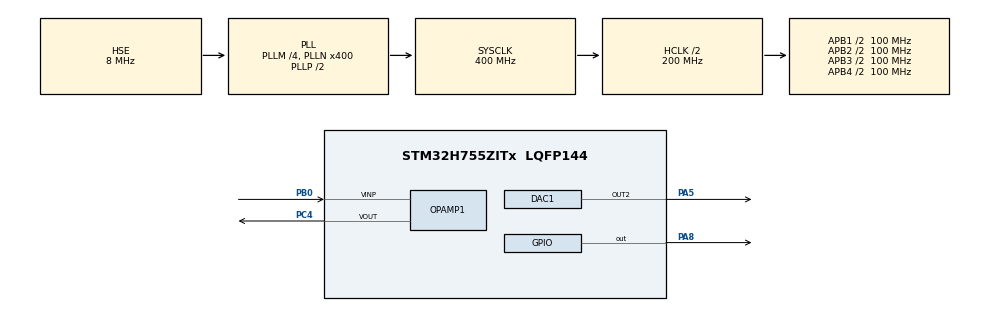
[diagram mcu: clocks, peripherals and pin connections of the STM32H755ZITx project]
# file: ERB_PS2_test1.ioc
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ADC2.Channel-16\#ChannelRegularConversion=ADC_CHANNEL_4
ADC2.ConversionDataManagement=ADC_CONVERSIONDATA_DR
ADC2.ExternalTrigConv=ADC_EXTERNALTRIG_T8_TRGO
ADC2.NbrOfConversionFlag=1
ADC2.OffsetNumber-16\#ChannelRegularConversion=ADC_OFFSET_NONE
ADC2.OffsetSignedSaturation-16\#ChannelRegularConversion=DISABLE
ADC2.Rank-16\#ChannelRegularConversion=1
ADC2.Resolution=ADC_RESOLUTION_12B
ADC2.SamplingTime-16\#ChannelRegularConversion=ADC_SAMPLETIME_32CYCLES_5
CORTEX_M7.CPU_DCache=Enabled
CORTEX_M7.CPU_ICache=Enabled
CORTEX_M7.default_mode_Activation=1
CortexM4.IPs=FATFS_M4\:I,FREERTOS_M4\:I,IWDG2\:I,RCC,WWDG2\:I,DMA,BDMA,MDMA,NVIC2\:I,USART3,DEBUG,PDM2PCM_M4\:I,PWR,RESMGR_UTILITY,SYS_M4\:I,USB_DEVICE_M4\:I,USB_HOST_M4\:I,CORTEX_M4\:I,GPIO,OPENAMP_M4\:I,VREFBUF
CortexM7.IPs=FATFS_M7\:I,FREERTOS_M7\:I,IWDG1\:I,RCC\:I,WWDG1\:I,DMA\:I,BDMA\:I,MDMA\:I,NVIC1\:I,USART3\:I,USB_OTG_FS\:I,SYS\:I,CORTEX_M7\:I,DEBUG\:I,PDM2PCM_M7\:I,PWR\:I,RESMGR_UTILITY\:I,USB_DEVICE_M7\:I,USB_HOST_M7\:I,GPIO\:I,OPENAMP_M7\:I,VREFBUF\:I,DAC1\:I,TIM5\:I,TIM8\:I,OPAMP2\:I,ADC2\:I,OPAMP1\:I
DAC1.DAC_Channel-DAC_OUT2=DAC_CHANNEL_2
DAC1.DAC_Trigger-DAC_OUT2=DAC_TRIGGER_NONE
Dma.DAC1_CH2.0.Direction=DMA_MEMORY_TO_PERIPH
Dma.DAC1_CH2.0.EventEnable=DISABLE
Dma.DAC1_CH2.0.FIFOMode=DMA_FIFOMODE_DISABLE
Dma.DAC1_CH2.0.Instance=DMA1_Stream1
Dma.DAC1_CH2.0.MemDataAlignment=DMA_MDATAALIGN_HALFWORD
Dma.DAC1_CH2.0.MemInc=DMA_MINC_ENABLE
Dma.DAC1_CH2.0.Mode=DMA_NORMAL
Dma.DAC1_CH2.0.PeriphDataAlignment=DMA_PDATAALIGN_HALFWORD
Dma.DAC1_CH2.0.PeriphInc=DMA_PINC_DISABLE
Dma.DAC1_CH2.0.Polarity=HAL_DMAMUX_REQ_GEN_RISING
Dma.DAC1_CH2.0.Priority=DMA_PRIORITY_VERY_HIGH
Dma.DAC1_CH2.0.RequestNumber=1
Dma.DAC1_CH2.0.SignalID=NONE
Dma.DAC1_CH2.0.SyncEnable=DISABLE
Dma.DAC1_CH2.0.SyncPolarity=HAL_DMAMUX_SYNC_NO_EVENT
Dma.DAC1_CH2.0.SyncRequestNumber=1
Dma.DAC1_CH2.0.SyncSignalID=NONE
Dma.Request0=DAC1_CH2
Mcu.Family=STM32H7
Mcu.Name=STM32H755ZITx
Mcu.Package=LQFP144
NVIC1.ADC_IRQn=true\:0\:0\:false\:false\:true\:true\:true\:true
NVIC1.DMA1_Stream1_IRQn=true\:0\:0\:false\:false\:true\:false\:true\:true
NVIC1.PriorityGroup=NVIC_PRIORITYGROUP_4
NVIC2.PriorityGroup=NVIC_PRIORITYGROUP_4
PA5.PinAttribute=CortexM7
PA5.Signal=COMP_DAC12_group
PA8.PinAttribute=Free
PA8.Signal=GPIO_Output
PB0.Mode=Follower
PB0.PinAttribute=CortexM7
PB0.Signal=OPAMP1_VINP
PC4.Mode=Follower
PC4.PinAttribute=CortexM7
PC4.Signal=OPAMP1_VOUT
PH0-OSC_IN\ (PH0).Mode=HSE-External-Oscillator
PH0-OSC_IN\ (PH0).PinAttribute=CortexM7
PH0-OSC_IN\ (PH0).Signal=RCC_OSC_IN
PH1-OSC_OUT\ (PH1).Mode=HSE-External-Oscillator
PH1-OSC_OUT\ (PH1).PinAttribute=CortexM7
PH1-OSC_OUT\ (PH1).Signal=RCC_OSC_OUT
ProjectManager.HeapSize=M4-0x200,M7-0x200
ProjectManager.StackSize=M4-0x400,M7-0x400
ProjectManager.TargetToolchain=STM32CubeIDE
RCC.ADCFreq_Value=160000000
RCC.APB1Freq_Value=100000000
RCC.APB2Freq_Value=100000000
RCC.APB3Freq_Value=100000000
RCC.APB4Freq_Value=100000000
RCC.CortexFreq_Value=400000000
RCC.D1PPRE=RCC_APB3_DIV2
RCC.D2PPRE1=RCC_APB1_DIV2
RCC.D2PPRE2=RCC_APB2_DIV2
RCC.D3PPRE=RCC_APB4_DIV2
RCC.DIVM1=4
RCC.DIVM2=4
RCC.DIVN1=400
RCC.DIVN2=80
RCC.DIVP2=1
RCC.DIVQ1=5
RCC.HCLKFreq_Value=200000000
RCC.HPRE=RCC_HCLK_DIV2
RCC.HSE_VALUE=8000000
RCC.PLL2FRACN=0
RCC.PLL3FRACN=0
RCC.PLLFRACN=0
RCC.PLLSourceVirtual=RCC_PLLSOURCE_HSE
RCC.PWR_Regulator_Voltage_Scale=PWR_REGULATOR_VOLTAGE_SCALE1
RCC.ProductRev=revY
RCC.SYSCLKFreq_VALUE=400000000
RCC.SYSCLKSource=RCC_SYSCLKSOURCE_PLLCLK
RCC.SupplySource=PWR_DIRECT_SMPS_SUPPLY
RCC.USBFreq_Value=160000000
SH.COMP_DAC12_group.0=DAC1_OUT2,DAC_OUT2
TIM5.AutoReloadPreload=TIM_AUTORELOAD_PRELOAD_DISABLE
TIM5.Period=3333
TIM5.TIM_MasterOutputTrigger=TIM_TRGO_UPDATE
TIM8.AutoReloadPreload=TIM_AUTORELOAD_PRELOAD_ENABLE
TIM8.Period=2083
TIM8.Prescaler=0
TIM8.TIM_MasterOutputTrigger=TIM_TRGO_UPDATE
VP_ADC2_OPAMP1_OUT.Mode=IN4-OPAMP1-Single-Ended
VP_SYS_M4_VS_Systick.Mode=SysTick
VP_TIM5_VS_ClockSourceINT.Mode=Internal
VP_TIM8_VS_ClockSourceINT.Mode=Internal
board=NUCLEO-H755ZI-Q

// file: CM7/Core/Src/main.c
/* USER CODE BEGIN Header */
/**
  ******************************************************************************
  * @file           : main.c
  * @brief          : Main program body
  ******************************************************************************
  * @attention
  *
  * Copyright (c) 2023 STMicroelectronics.
  * All rights reserved.
  *
  * This software is licensed under terms that can be found in the LICENSE file
  * in the root directory of this software component.
  * If no LICENSE file comes with this software, it is provided AS-IS.
  *
  ******************************************************************************
  This Code conatains the following effect: Polyphonic octave +1 and -1
  Filters that are used:
  -SubbandFilter: input is filtered into 43 subbands for analysis
  -RemoveDCfilter: Removes dc from 20Hz (highpass filter)
  -SuboctaveFIlter: Helps clear out upper harmonics from suboctave generation
  TODO LIST:
  TODO: Implement SubbandFilter Calculation    DONE!
  TODO: Imlement Subbandfilter Coefficient
  TODO: Set clock speed to 48khz
  TODO: Implement suboctave generation
  TODO: Implement Suboctave filtering
  TODO: Implement suboctave filter coefficient

  */
/* USER CODE END Header */
#include "main.h"

/* USER CODE BEGIN Includes */
#include "arm_math.h"
/* USER CODE END Includes */

/* USER CODE BEGIN PD */

#ifndef HSEM_ID_0
#define HSEM_ID_0 (0U) /* HW semaphore 0*/
#endif
/* USER CODE END PD */

ADC_HandleTypeDef hadc2;

DAC_HandleTypeDef hdac1;
DMA_HandleTypeDef hdma_dac1_ch2;

OPAMP_HandleTypeDef hopamp1;

TIM_HandleTypeDef htim5;
TIM_HandleTypeDef htim8;

void SystemClock_Config(void);
static void MPU_Config(void);
static void MX_GPIO_Init(void);
static void MX_DMA_Init(void);
static void MX_DAC1_Init(void);
static void MX_TIM5_Init(void);
static void MX_TIM8_Init(void);
static void MX_ADC2_Init(void);
static void MX_OPAMP1_Init(void);

/* USER CODE BEGIN 0 */
volatile uint8_t ADC_buffer_is_full=0;
volatile uint8_t ADC_buffer_is_half_full=0;
volatile uint8_t DAC_buffer_is_full=0;
volatile uint8_t DAC_buffer_is_half_full=0;
void HAL_ADC_ConvHalfCpltCallback(ADC_HandleTypeDef* hadc) {
	ADC_buffer_is_full=1;

}

void HAL_DACEx_ConvCpltCallbackCh2(DAC_HandleTypeDef *hdac){
	DAC_buffer_is_full=1;
}

void HAL_DACEx_ConvHalfCpltCallbackCh2(DAC_HandleTypeDef *hdac){
	DAC_buffer_is_half_full=1;
}
// DESIGN FILTERS
# define numberofsubbands 43
// SUBBAND FILTER VECTORS
volatile float32_t subbandfilter_input[numberofsubbands];
volatile float32_t subbandfilter_output[numberofsubbands];

// saved states
volatile float32_t subbandfilter_dn[numberofsubbands];
volatile float32_t subbandfilter_dn1[numberofsubbands];
volatile float32_t subbandfilter_dn2[numberofsubbands];

// filter coefficients fs=48000khz
float32_t subbandfilter_a1[numberofsubbands]={
  -1.99945743773269,-1.99935942906841,-1.99924062977670,-1.99909708277235,-1.99892410985062,-1.99871618287911,-1.99846677223317,-1.99816816848975,-1.99781127270592,-1.99738534980214,-1.99687773863020,-1.99627351120883,-1.99555507233332,-1.99470168928216,-1.99368893962368,-1.99248806313769,-1.99106520157565,-1.98938050735340,-1.98738709926732,-1.98502983991592,-1.98224390566903,-1.97895311574385,-1.97506798222950,-1.97048343779300,-1.96507619239353,-1.95870166479969,-1.95119042932896,-1.94234411345253,-1.93193067840176,-1.91967901366415,-1.90527277869813,-1.88834343336828,-1.86846241538006,-1.84513245237305,-1.81777804381746,-1.78573522094381,-1.74824080170997,-1.70442151569457,-1.65328359840612,-1.59370376851867,-1.52442293367053,-1.44404455593239,-1.35104038852965
};
float32_t subbandfilter_a2[numberofsubbands]={
  0.999623840823723,0.999592083812410,0.999557647639999,0.999520306796363,0.999479816929101,0.999435913307174,0.999388309169729,0.999336693954506,0.999280731400842,0.999220057523294,0.999154278453365,0.999082968148916,0.999005665973701,0.998921874153418,0.998831055119909,0.998732628762124,0.998625969611674,0.998510404002805,0.998385207262283,0.998249601004902,0.998102750636437,0.997943763199395,0.997771685739803,0.997585504428058,0.997384144736516,0.997166473064829,0.996931300315725,0.996677388064530,0.996403458142182,0.996108206671829,0.995790323872893,0.995448521284569,0.995081568475183,0.994688341807231,0.994267888432584,0.993819509407934,0.993342866651437,0.992838119401008,0.992306096857390,0.991748514743871,0.991168244482538,0.990569644389679,0.989958962429589
};

float32_t subbandfilter_b0[numberofsubbands]={
  0.000188079588138645,0.000203958093794915,0.000221176180000397,0.000239846601818621,0.000260091535449550,0.000282043346413158,0.000305845415135634,0.000331653022746955,0.000359634299578796,0.000389971238353096,0.000422860773317513,0.000458515925542157,0.000497167013149809,0.000539062923291039,0.000584472440045357,0.000633685618937812,0.000687015194163202,0.000744797998597725,0.000807396368858447,0.000875199497549016,0.000948624681781347,0.00102811840030234,0.00111415713009846,0.00120724778597086,0.00130792763174217,0.00141676346758574,0.00153434984213762,0.00166130596773492,0.00179827092890887,0.00194589666408543,0.00210483806355368,0.00227573935771526,0.00245921576240832,0.00265582909638453,0.00286605578370814,0.00309024529603291,0.00332856667428175,0.00358094029949610,0.00384695157130517,0.00412574262806443,0.00441587775873096,0.00471517780516052,0.00502051878520553};
float32_t subbandfilter_b1[numberofsubbands]={0.0};
float32_t subbandfilter_b2[numberofsubbands]={
  -0.000188079588138645,-0.000203958093794915,-0.000221176180000397,-0.000239846601818621,-0.000260091535449550,-0.000282043346413158,-0.000305845415135634,-0.000331653022746955,-0.000359634299578796,-0.000389971238353096,-0.000422860773317513,-0.000458515925542157,-0.000497167013149809,-0.000539062923291039,-0.000584472440045357,-0.000633685618937812,-0.000687015194163202,-0.000744797998597725,-0.000807396368858447,-0.000875199497549016,-0.000948624681781347,-0.00102811840030234,-0.00111415713009846,-0.00120724778597086,-0.00130792763174217,-0.00141676346758574,-0.00153434984213762,-0.00166130596773492,-0.00179827092890887,-0.00194589666408543,-0.00210483806355368,-0.00227573935771526,-0.00245921576240832,-0.00265582909638453,-0.00286605578370814,-0.00309024529603291,-0.00332856667428175,-0.00358094029949610,-0.00384695157130517,-0.00412574262806443,-0.00441587775873096,-0.00471517780516052,-0.00502051878520553
};

volatile float32_t subbandfilter_A1[numberofsubbands];
volatile float32_t subbandfilter_A2[numberofsubbands];

volatile float32_t subbandfilter_B0[numberofsubbands];
volatile float32_t subbandfilter_B1[numberofsubbands];
volatile float32_t subbandfilter_B2[numberofsubbands];

// SUBBAND FILTER FUNCTION - DIRECT FORM 2 - normalfunction exectime: ~6us
void subbandfilter_calculation(uint32_t input){
  float32_t input_f32=(float32_t)input-2048;
  // set d[n], d[n-1], d[n-2]
  for(int i=0;i<numberofsubbands;i++){
			  subbandfilter_input[i]=input_f32;
			  subbandfilter_dn2[i]=subbandfilter_dn1[i];
			  subbandfilter_dn1[i]=subbandfilter_dn[i];
  }
  // A1
  arm_mult_f32(subbandfilter_a1, subbandfilter_dn1, subbandfilter_A1, numberofsubbands);
  // A2
  arm_mult_f32(subbandfilter_a2, subbandfilter_dn2, subbandfilter_A2, numberofsubbands);

  // A1+A2
  arm_add_f32(subbandfilter_A1, subbandfilter_A2, subbandfilter_dn, numberofsubbands);

  // d[n]=A0-A1-A2
  arm_sub_f32(subbandfilter_input,subbandfilter_dn, subbandfilter_dn, numberofsubbands);

  // y_n=b0*d[n]+b1*d[n-1]+b2*d[n-2]

  // B1
  arm_mult_f32(subbandfilter_b1, subbandfilter_dn1, subbandfilter_B1, numberofsubbands);
  // B2
  arm_mult_f32(subbandfilter_b2, subbandfilter_dn2, subbandfilter_B2, numberofsubbands);
  // B1+B2
  arm_add_f32(subbandfilter_B1, subbandfilter_B2, subbandfilter_output, numberofsubbands);

  // B0
  arm_mult_f32(subbandfilter_b0, subbandfilter_dn, subbandfilter_B0, numberofsubbands);

  // y=B0+B1+B2
  arm_add_f32(subbandfilter_output, subbandfilter_B0, subbandfilter_output, numberofsubbands);
}
// SUBBAND FILTER FUNCTION - DIRECT FORM 2 - macrofunction exectime: ~5us
//#define SUBBANDFILTER_CALCULATION(input_16t) do { \
//  float32_t input_f32 = (float32_t)input_16t; \
//  for (int i = 0; i < numberofsubbands; i++) { \
//    subbandfilter_input[i] = input_f32; \
//    subbandfilter_dn2[i] = subbandfilter_dn1[i]; \
//    subbandfilter_dn1[i] = subbandfilter_dn[i]; \
//  } \
//  arm_mult_f32(subbandfilter_a1, subbandfilter_dn1, subbandfilter_A1, numberofsubbands); \
//  arm_mult_f32(subbandfilter_a2, subbandfilter_dn2, subbandfilter_A2, numberofsubbands); \
//  arm_add_f32(subbandfilter_A1, subbandfilter_A2, subbandfilter_dn, numberofsubbands); \
//  arm_add_f32(subbandfilter_dn, subbandfilter_input, subbandfilter_dn, numberofsubbands); \
//  arm_mult_f32(subbandfilter_b1, subbandfilter_dn1, subbandfilter_B1, numberofsubbands); \
//  arm_mult_f32(subbandfilter_b2, subbandfilter_dn2, subbandfilter_B2, numberofsubbands); \
//  arm_add_f32(subbandfilter_B1, subbandfilter_B2, subbandfilter_output, numberofsubbands); \
//  arm_mult_f32(subbandfilter_b0, subbandfilter_dn, subbandfilter_B0, numberofsubbands); \
//  arm_add_f32(subbandfilter_output, subbandfilter_B0, subbandfilter_output, numberofsubbands); \
//} while (0)

// usefull filters
volatile float32_t subband_ones[numberofsubbands]={1.0,1.0,1.0,1.0,1.0,1.0,1.0,1.0,1.0,1.0,1.0,1.0,1.0,1.0,1.0,1.0,1.0,1.0,1.0,1.0,1.0,1.0,1.0,1.0,1.0,1.0,1.0,1.0,1.0,1.0,1.0,1.0,1.0,1.0,1.0,1.0,1.0,1.0,1.0,1.0,1.0,1.0,1.0};
volatile float32_t subband_absolute_value[numberofsubbands];
volatile float32_t octave1_up=0.0;
volatile float32_t octave1_up_filtered=0.0;
// octave Filter
arm_biquad_cascade_df2T_instance_f32 highpass_iir_50hz;
volatile float32_t highpass_coeff[5]={0.99538200, -1.99076399, 0.99538200, 1.99074267, -0.99078531};
volatile float32_t highpass_state[10];

void octave1up(){
	// get absolute values of subbands
	arm_abs_f32(subbandfilter_output, subband_absolute_value, numberofsubbands);

	// add the octave subbands together
	arm_dot_prod_f32(subband_absolute_value, subband_ones, numberofsubbands, &octave1_up);

	// filter the DC component out
	arm_biquad_cascade_df2T_f32(&highpass_iir_50hz, &octave1_up, &octave1_up_filtered, 1);
}

volatile uint16_t state=0;
void HAL_ADC_ConvCpltCallback(ADC_HandleTypeDef* hadc)
{
	// Megjegyzés: valószínlőűleg a peripheral clockot kell nézni időzítéskor. APBclock 75Mhz volt ezért 75Mhz/48khz=1300 ennyi kell timer8 nak
    // Read & Update The ADC Result
	uint32_t value_from_ADC = HAL_ADC_GetValue(&hadc2);

	//value_from_ADC=value_from_ADC-2048;
	//SUBBANDFILTER_CALCULATION(value_from_ADC);

	subbandfilter_calculation(value_from_ADC);
	octave1up();

	// input+octave1up
	//DAC1->DHR12R2 = (uint16_t)octave1_up_filtered+value_from_ADC+2048;
	// octave1up
	uint32_t output_test_ac=(uint32_t)octave1_up_filtered*1;
//	DAC1->DHR12R2 = output_test_ac+2048;//+value_from_ADC-2048;

	DAC1->DHR12R2 = (uint32_t)output_test_ac+2048;
}

/* USER CODE END 0 */

int main(void)
{
/* USER CODE BEGIN Boot_Mode_Sequence_0 */
  int32_t timeout;
/* USER CODE END Boot_Mode_Sequence_0 */

  /* MPU Configuration--------------------------------------------------------*/
  MPU_Config();

  /* Enable I-Cache---------------------------------------------------------*/
  SCB_EnableICache();

  /* Enable D-Cache---------------------------------------------------------*/
  SCB_EnableDCache();

/* USER CODE BEGIN Boot_Mode_Sequence_1 */
  /* Wait until CPU2 boots and enters in stop mode or timeout*/
  timeout = 0xFFFF;
  while((__HAL_RCC_GET_FLAG(RCC_FLAG_D2CKRDY) != RESET) && (timeout-- > 0));
  if ( timeout < 0 )
  {
  Error_Handler();
  }
/* USER CODE END Boot_Mode_Sequence_1 */
  /* MCU Configuration--------------------------------------------------------*/

  /* Reset of all peripherals, Initializes the Flash interface and the Systick. */
  HAL_Init();

  /* Configure the system clock */
  SystemClock_Config();
/* USER CODE BEGIN Boot_Mode_Sequence_2 */
/* When system initialization is finished, Cortex-M7 will release Cortex-M4 by means of
HSEM notification */
/*HW semaphore Clock enable*/
__HAL_RCC_HSEM_CLK_ENABLE();
/*Take HSEM */
HAL_HSEM_FastTake(HSEM_ID_0);
/*Release HSEM in order to notify the CPU2(CM4)*/
HAL_HSEM_Release(HSEM_ID_0,0);
/* wait until CPU2 wakes up from stop mode */
timeout = 0xFFFF;
while((__HAL_RCC_GET_FLAG(RCC_FLAG_D2CKRDY) == RESET) && (timeout-- > 0));
if ( timeout < 0 )
{
Error_Handler();
}
/* USER CODE END Boot_Mode_Sequence_2 */

  /* Initialize all configured peripherals */
  MX_GPIO_Init();
  MX_DMA_Init();
  MX_DAC1_Init();
  MX_TIM5_Init();
  MX_TIM8_Init();
  MX_ADC2_Init();
  MX_OPAMP1_Init();
  /* USER CODE BEGIN 2 */
  uint16_t input_ADC;
  uint16_t output_DAC;
  // start DMA for ADC and DAC
	//HAL_ADC_Start_DMA(&hadc2, (uint32_t*)input_ADC, 1);
	//HAL_DAC_Start_DMA(&hdac1, DAC_CHANNEL_2, (uint32_t*)output_DAC, 1, DAC_ALIGN_12B_R);

	HAL_OPAMP_Start(&hopamp1);
	// start Timers for ADC and DAC
	HAL_TIM_Base_Start(&htim8);
	HAL_TIM_Base_Start(&htim5);
	 HAL_ADC_Start_IT(&hadc2);
	  HAL_DAC_Start(&hdac1, DAC_CHANNEL_2);

  uint16_t input=10;
  float32_t output=1;

  // SubbandFilters

  arm_biquad_cascade_df2T_init_f32(&highpass_iir_50hz, 1, &highpass_coeff, &highpass_state);

  /* USER CODE END 2 */

  /* Infinite loop */
  /* USER CODE BEGIN WHILE */
  volatile uint32_t myvar;
  while (1)
  {
	  // BENCHMARK START
//	  myvar=HAL_GetTick();
//
//	  for(int i=0; i<10000;i++){
//		  input=input_ADC-2048;
//		  SUBBANDFILTER_CALCULATION(input);
//		  octave1up();
//		  output_DAC=input+octave1_up_filtered+2048;
//	  }
//
//	  myvar=HAL_GetTick()-myvar;
	  // BENCHMARK END
//	  HAL_ADC_Start(&hadc2);
//	  HAL_ADC_PollForConversion(&hadc2, 1);
//	  input_ADC = HAL_ADC_GetValue(&hadc2);
//
//	  if(1){
//		  input=input_ADC-2048;
//		  SUBBANDFILTER_CALCULATION(input);
//		  octave1up();
//		  output_DAC=input+octave1_up_filtered+2048;
//		  ADC_buffer_is_full=0;
//	  }

    /* USER CODE END WHILE */

  }
}

void SystemClock_Config(void)
{
  RCC_OscInitTypeDef RCC_OscInitStruct = {0};
  RCC_ClkInitTypeDef RCC_ClkInitStruct = {0};

  /** Supply configuration update enable
  */
  HAL_PWREx_ConfigSupply(PWR_DIRECT_SMPS_SUPPLY);

  /** Configure the main internal regulator output voltage
  */
  __HAL_PWR_VOLTAGESCALING_CONFIG(PWR_REGULATOR_VOLTAGE_SCALE1);

  while(!__HAL_PWR_GET_FLAG(PWR_FLAG_VOSRDY)) {}

  /** Macro to configure the PLL clock source
  */
  __HAL_RCC_PLL_PLLSOURCE_CONFIG(RCC_PLLSOURCE_HSE);

  /** Initializes the RCC Oscillators according to the specified parameters
  * in the RCC_OscInitTypeDef structure.
  */
  RCC_OscInitStruct.OscillatorType = RCC_OSCILLATORTYPE_HSE;
  RCC_OscInitStruct.HSEState = RCC_HSE_ON;
  RCC_OscInitStruct.PLL.PLLState = RCC_PLL_ON;
  RCC_OscInitStruct.PLL.PLLSource = RCC_PLLSOURCE_HSE;
  RCC_OscInitStruct.PLL.PLLM = 4;
  RCC_OscInitStruct.PLL.PLLN = 400;
  RCC_OscInitStruct.PLL.PLLP = 2;
  RCC_OscInitStruct.PLL.PLLQ = 5;
  RCC_OscInitStruct.PLL.PLLR = 2;
  RCC_OscInitStruct.PLL.PLLRGE = RCC_PLL1VCIRANGE_1;
  RCC_OscInitStruct.PLL.PLLVCOSEL = RCC_PLL1VCOWIDE;
  RCC_OscInitStruct.PLL.PLLFRACN = 0;
  if (HAL_RCC_OscConfig(&RCC_OscInitStruct) != HAL_OK)
  {
    Error_Handler();
  }

  /** Initializes the CPU, AHB and APB buses clocks
  */
  RCC_ClkInitStruct.ClockType = RCC_CLOCKTYPE_HCLK|RCC_CLOCKTYPE_SYSCLK
                              |RCC_CLOCKTYPE_PCLK1|RCC_CLOCKTYPE_PCLK2
                              |RCC_CLOCKTYPE_D3PCLK1|RCC_CLOCKTYPE_D1PCLK1;
  RCC_ClkInitStruct.SYSCLKSource = RCC_SYSCLKSOURCE_PLLCLK;
  RCC_ClkInitStruct.SYSCLKDivider = RCC_SYSCLK_DIV1;
  RCC_ClkInitStruct.AHBCLKDivider = RCC_HCLK_DIV2;
  RCC_ClkInitStruct.APB3CLKDivider = RCC_APB3_DIV2;
  RCC_ClkInitStruct.APB1CLKDivider = RCC_APB1_DIV2;
  RCC_ClkInitStruct.APB2CLKDivider = RCC_APB2_DIV2;
  RCC_ClkInitStruct.APB4CLKDivider = RCC_APB4_DIV2;

  if (HAL_RCC_ClockConfig(&RCC_ClkInitStruct, FLASH_LATENCY_2) != HAL_OK)
  {
    Error_Handler();
  }
}

static void MX_ADC2_Init(void)
{

  ADC_ChannelConfTypeDef sConfig = {0};

  /** Common config
  */
  hadc2.Instance = ADC2;
  hadc2.Init.ClockPrescaler = ADC_CLOCK_ASYNC_DIV6;
  hadc2.Init.Resolution = ADC_RESOLUTION_12B;
  hadc2.Init.ScanConvMode = ADC_SCAN_DISABLE;
  hadc2.Init.EOCSelection = ADC_EOC_SINGLE_CONV;
  hadc2.Init.LowPowerAutoWait = DISABLE;
  hadc2.Init.ContinuousConvMode = DISABLE;
  hadc2.Init.NbrOfConversion = 1;
  hadc2.Init.DiscontinuousConvMode = DISABLE;
  hadc2.Init.ExternalTrigConv = ADC_EXTERNALTRIG_T8_TRGO;
  hadc2.Init.ExternalTrigConvEdge = ADC_EXTERNALTRIGCONVEDGE_RISING;
  hadc2.Init.ConversionDataManagement = ADC_CONVERSIONDATA_DR;
  hadc2.Init.Overrun = ADC_OVR_DATA_PRESERVED;
  hadc2.Init.LeftBitShift = ADC_LEFTBITSHIFT_NONE;
  hadc2.Init.OversamplingMode = DISABLE;
  if (HAL_ADC_Init(&hadc2) != HAL_OK)
  {
    Error_Handler();
  }

  /** Configure Regular Channel
  */
  sConfig.Channel = ADC_CHANNEL_4;
  sConfig.Rank = ADC_REGULAR_RANK_1;
  sConfig.SamplingTime = ADC_SAMPLETIME_32CYCLES_5;
  sConfig.SingleDiff = ADC_SINGLE_ENDED;
  sConfig.OffsetNumber = ADC_OFFSET_NONE;
  sConfig.Offset = 0;
  sConfig.OffsetSignedSaturation = DISABLE;
  if (HAL_ADC_ConfigChannel(&hadc2, &sConfig) != HAL_OK)
  {
    Error_Handler();
  }

}

static void MX_DAC1_Init(void)
{

  DAC_ChannelConfTypeDef sConfig = {0};

  /** DAC Initialization
  */
  hdac1.Instance = DAC1;
  if (HAL_DAC_Init(&hdac1) != HAL_OK)
  {
    Error_Handler();
  }

  /** DAC channel OUT2 config
  */
  sConfig.DAC_SampleAndHold = DAC_SAMPLEANDHOLD_DISABLE;
  sConfig.DAC_Trigger = DAC_TRIGGER_NONE;
  sConfig.DAC_OutputBuffer = DAC_OUTPUTBUFFER_ENABLE;
  sConfig.DAC_ConnectOnChipPeripheral = DAC_CHIPCONNECT_DISABLE;
  sConfig.DAC_UserTrimming = DAC_TRIMMING_FACTORY;
  if (HAL_DAC_ConfigChannel(&hdac1, &sConfig, DAC_CHANNEL_2) != HAL_OK)
  {
    Error_Handler();
  }

}

static void MX_OPAMP1_Init(void)
{

  hopamp1.Instance = OPAMP1;
  hopamp1.Init.Mode = OPAMP_FOLLOWER_MODE;
  hopamp1.Init.NonInvertingInput = OPAMP_NONINVERTINGINPUT_IO0;
  hopamp1.Init.PowerMode = OPAMP_POWERMODE_NORMAL;
  hopamp1.Init.UserTrimming = OPAMP_TRIMMING_FACTORY;
  if (HAL_OPAMP_Init(&hopamp1) != HAL_OK)
  {
    Error_Handler();
  }

}

static void MX_TIM5_Init(void)
{

  TIM_ClockConfigTypeDef sClockSourceConfig = {0};
  TIM_MasterConfigTypeDef sMasterConfig = {0};

  htim5.Instance = TIM5;
  htim5.Init.Prescaler = 0;
  htim5.Init.CounterMode = TIM_COUNTERMODE_UP;
  htim5.Init.Period = 3333;
  htim5.Init.ClockDivision = TIM_CLOCKDIVISION_DIV1;
  htim5.Init.AutoReloadPreload = TIM_AUTORELOAD_PRELOAD_DISABLE;
  if (HAL_TIM_Base_Init(&htim5) != HAL_OK)
  {
    Error_Handler();
  }
  sClockSourceConfig.ClockSource = TIM_CLOCKSOURCE_INTERNAL;
  if (HAL_TIM_ConfigClockSource(&htim5, &sClockSourceConfig) != HAL_OK)
  {
    Error_Handler();
  }
  sMasterConfig.MasterOutputTrigger = TIM_TRGO_UPDATE;
  sMasterConfig.MasterSlaveMode = TIM_MASTERSLAVEMODE_DISABLE;
  if (HAL_TIMEx_MasterConfigSynchronization(&htim5, &sMasterConfig) != HAL_OK)
  {
    Error_Handler();
  }

}

static void MX_TIM8_Init(void)
{

  TIM_ClockConfigTypeDef sClockSourceConfig = {0};
  TIM_MasterConfigTypeDef sMasterConfig = {0};

  htim8.Instance = TIM8;
  htim8.Init.Prescaler = 0;
  htim8.Init.CounterMode = TIM_COUNTERMODE_UP;
  htim8.Init.Period = 2083;
  htim8.Init.ClockDivision = TIM_CLOCKDIVISION_DIV1;
  htim8.Init.RepetitionCounter = 0;
  htim8.Init.AutoReloadPreload = TIM_AUTORELOAD_PRELOAD_ENABLE;
  if (HAL_TIM_Base_Init(&htim8) != HAL_OK)
  {
    Error_Handler();
  }
  sClockSourceConfig.ClockSource = TIM_CLOCKSOURCE_INTERNAL;
  if (HAL_TIM_ConfigClockSource(&htim8, &sClockSourceConfig) != HAL_OK)
  {
    Error_Handler();
  }
  sMasterConfig.MasterOutputTrigger = TIM_TRGO_UPDATE;
  sMasterConfig.MasterOutputTrigger2 = TIM_TRGO2_RESET;
  sMasterConfig.MasterSlaveMode = TIM_MASTERSLAVEMODE_DISABLE;
  if (HAL_TIMEx_MasterConfigSynchronization(&htim8, &sMasterConfig) != HAL_OK)
  {
    Error_Handler();
  }

}

static void MX_DMA_Init(void)
{

  /* DMA controller clock enable */
  __HAL_RCC_DMA1_CLK_ENABLE();

  /* DMA interrupt init */
  /* DMA1_Stream1_IRQn interrupt configuration */
  HAL_NVIC_SetPriority(DMA1_Stream1_IRQn, 0, 0);
  HAL_NVIC_EnableIRQ(DMA1_Stream1_IRQn);

}

static void MX_GPIO_Init(void)
{

  /* GPIO Ports Clock Enable */
  __HAL_RCC_GPIOH_CLK_ENABLE();
  __HAL_RCC_GPIOA_CLK_ENABLE();
  __HAL_RCC_GPIOC_CLK_ENABLE();
  __HAL_RCC_GPIOB_CLK_ENABLE();

}

/* MPU Configuration */

void MPU_Config(void)
{
  MPU_Region_InitTypeDef MPU_InitStruct = {0};

  /* Disables the MPU */
  HAL_MPU_Disable();

  /** Initializes and configures the Region and the memory to be protected
  */
  MPU_InitStruct.Enable = MPU_REGION_ENABLE;
  MPU_InitStruct.Number = MPU_REGION_NUMBER0;
  MPU_InitStruct.BaseAddress = 0x0;
  MPU_InitStruct.Size = MPU_REGION_SIZE_4GB;
  MPU_InitStruct.SubRegionDisable = 0x87;
  MPU_InitStruct.TypeExtField = MPU_TEX_LEVEL0;
  MPU_InitStruct.AccessPermission = MPU_REGION_NO_ACCESS;
  MPU_InitStruct.DisableExec = MPU_INSTRUCTION_ACCESS_DISABLE;
  MPU_InitStruct.IsShareable = MPU_ACCESS_SHAREABLE;
  MPU_InitStruct.IsCacheable = MPU_ACCESS_NOT_CACHEABLE;
  MPU_InitStruct.IsBufferable = MPU_ACCESS_NOT_BUFFERABLE;

  HAL_MPU_ConfigRegion(&MPU_InitStruct);
  /* Enables the MPU */
  HAL_MPU_Enable(MPU_PRIVILEGED_DEFAULT);

}

void Error_Handler(void)
{
  __disable_irq();
  while (1)
  {
  }
}
